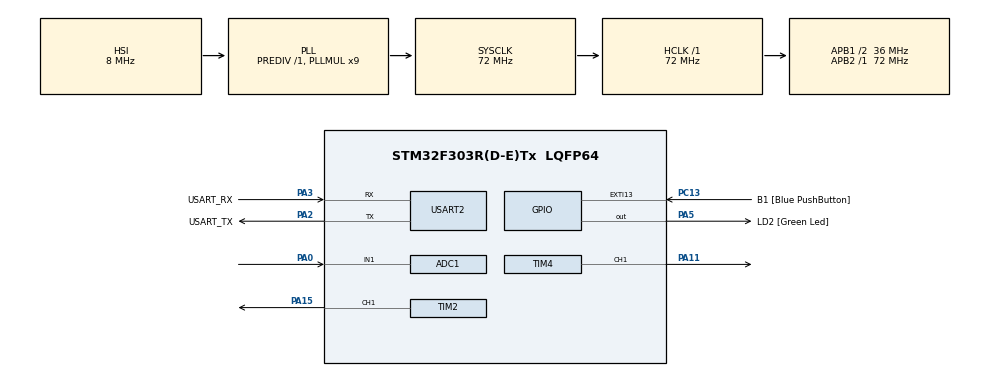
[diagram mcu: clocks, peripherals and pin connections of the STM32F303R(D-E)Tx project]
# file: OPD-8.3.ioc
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ADC1.Channel-0\#ChannelRegularConversion=ADC_CHANNEL_1
ADC1.NbrOfConversionFlag=1
ADC1.Offset-0\#ChannelRegularConversion=0
ADC1.OffsetNumber-0\#ChannelRegularConversion=ADC_OFFSET_NONE
ADC1.Rank-0\#ChannelRegularConversion=1
ADC1.SamplingTime-0\#ChannelRegularConversion=ADC_SAMPLETIME_1CYCLE_5
ADC1.SamplingTimeOPAMP-0\#ChannelRegularConversion=ADC_SAMPLETIME_61CYCLES_5
ADC1.master=1
Dma.Request0=TIM2_CH1
Dma.TIM2_CH1.0.Direction=DMA_PERIPH_TO_MEMORY
Dma.TIM2_CH1.0.Instance=DMA1_Channel5
Dma.TIM2_CH1.0.MemDataAlignment=DMA_MDATAALIGN_WORD
Dma.TIM2_CH1.0.MemInc=DMA_MINC_ENABLE
Dma.TIM2_CH1.0.Mode=DMA_NORMAL
Dma.TIM2_CH1.0.PeriphDataAlignment=DMA_PDATAALIGN_WORD
Dma.TIM2_CH1.0.PeriphInc=DMA_PINC_DISABLE
Dma.TIM2_CH1.0.Priority=DMA_PRIORITY_LOW
Mcu.Family=STM32F3
Mcu.Name=STM32F303R(D-E)Tx
Mcu.Package=LQFP64
NVIC.ADC1_2_IRQn=true\:0\:0\:false\:false\:true\:true\:true\:true
NVIC.DMA1_Channel5_IRQn=true\:0\:0\:false\:false\:true\:false\:true\:true
NVIC.PriorityGroup=NVIC_PRIORITYGROUP_0
NVIC.TIM2_IRQn=true\:0\:0\:false\:false\:true\:true\:true\:true
NVIC.TIM4_IRQn=true\:0\:0\:false\:false\:true\:true\:true\:true
PA0.Mode=IN1-Single-Ended
PA0.Signal=ADC1_IN1
PA11.Signal=S_TIM4_CH1
PA13.GPIO_Label=TMS
PA13.Mode=Serial_Wire
PA13.Signal=SYS_JTMS-SWDIO
PA14.GPIO_Label=TCK
PA14.Mode=Serial_Wire
PA14.Signal=SYS_JTCK-SWCLK
PA15.Signal=S_TIM2_CH1_ETR
PA2.GPIO_Label=USART_TX
PA2.GPIO_Mode=GPIO_MODE_AF_PP
PA2.GPIO_PuPd=GPIO_NOPULL
PA2.GPIO_Speed=GPIO_SPEED_FREQ_LOW
PA2.Mode=Asynchronous
PA2.Signal=USART2_TX
PA3.GPIO_Label=USART_RX
PA3.GPIO_Mode=GPIO_MODE_AF_PP
PA3.GPIO_PuPd=GPIO_NOPULL
PA3.GPIO_Speed=GPIO_SPEED_FREQ_LOW
PA3.Mode=Asynchronous
PA3.Signal=USART2_RX
PA5.GPIO_Label=LD2 [Green Led]
PA5.GPIO_Mode=GPIO_MODE_OUTPUT_PP
PA5.GPIO_PuPd=GPIO_NOPULL
PA5.GPIO_Speed=GPIO_SPEED_FREQ_LOW
PA5.Signal=GPIO_Output
PB3.GPIO_Label=SWO
PB3.Signal=SYS_JTDO-TRACESWO
PC13.GPIO_Label=B1 [Blue PushButton]
PC13.GPIO_ModeDefaultEXTI=GPIO_MODE_IT_FALLING
PC13.Signal=GPXTI13
PC14-OSC32_IN.Mode=LSE-External-Oscillator
PC14-OSC32_IN.Signal=RCC_OSC32_IN
PC15-OSC32_OUT.Mode=LSE-External-Oscillator
PC15-OSC32_OUT.Signal=RCC_OSC32_OUT
PF0-OSC_IN.Mode=HSE-External-Clock-Source
PF0-OSC_IN.Signal=RCC_OSC_IN
PF1-OSC_OUT.Signal=RCC_OSC_OUT
ProjectManager.HeapSize=0x200
ProjectManager.StackSize=0x400
ProjectManager.TargetToolchain=STM32CubeIDE
RCC.AHBFreq_Value=72000000
RCC.APB1CLKDivider=RCC_HCLK_DIV2
RCC.APB1Freq_Value=36000000
RCC.APB1TimFreq_Value=72000000
RCC.APB2Freq_Value=72000000
RCC.APB2TimFreq_Value=72000000
RCC.CortexFreq_Value=72000000
RCC.HCLKFreq_Value=72000000
RCC.HSE_VALUE=8000000
RCC.HSI_VALUE=8000000
RCC.PLLM=8
RCC.PLLMUL=RCC_PLL_MUL9
RCC.PLLN=336
RCC.PLLP=RCC_PLLP_DIV4
RCC.PLLQ=7
RCC.RCC_PLLsource_Clock_Source_FROM_HSE=RCC_HSE_PREDIV_DIV2
RCC.SYSCLKFreq_VALUE=72000000
RCC.SYSCLKSourceVirtual=RCC_SYSCLKSOURCE_PLLCLK
RCC.USBFreq_Value=72000000
SH.S_TIM2_CH1_ETR.0=TIM2_CH1,PWM Generation1 CH1
SH.S_TIM4_CH1.0=TIM4_CH1,PWM Generation1 CH1
TIM2.Channel-PWM\ Generation1\ CH1=TIM_CHANNEL_1
TIM2.Period=99999
TIM2.Prescaler=7199
TIM4.Channel-PWM\ Generation1\ CH1=TIM_CHANNEL_1
TIM4.Period=\ 999
TIM4.Prescaler=71
USART2.VirtualMode-Asynchronous=VM_ASYNC
board=NUCLEO-F303RE

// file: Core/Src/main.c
/* USER CODE BEGIN Header */
/**
  ******************************************************************************
  * @file           : main.c
  * @brief          : Main program body
  ******************************************************************************
  * @attention
  *
  * Copyright (c) 2026 STMicroelectronics.
  * All rights reserved.
  *
  * This software is licensed under terms that can be found in the LICENSE file
  * in the root directory of this software component.
  * If no LICENSE file comes with this software, it is provided AS-IS.
  *
  ******************************************************************************
  */
/* USER CODE END Header */
#include "main.h"

ADC_HandleTypeDef hadc1;

TIM_HandleTypeDef htim2;
TIM_HandleTypeDef htim4;

UART_HandleTypeDef huart2;

void SystemClock_Config(void);
static void MX_GPIO_Init(void);
static void MX_USART2_UART_Init(void);
static void MX_ADC1_Init(void);
static void MX_TIM2_Init(void);
static void MX_TIM4_Init(void);
/* USER CODE BEGIN PFP */
static uint32_t Read_Potentiometer(void);

/* USER CODE END PFP */

/* USER CODE BEGIN 0 */
volatile uint8_t tim4_enabled = 0;

/* USER CODE END 0 */

int main(void)
{

  /* MCU Configuration--------------------------------------------------------*/

  /* Reset of all peripherals, Initializes the Flash interface and the Systick. */
  HAL_Init();

  /* Configure the system clock */
  SystemClock_Config();

  /* Initialize all configured peripherals */
  MX_GPIO_Init();
  MX_USART2_UART_Init();
  MX_ADC1_Init();
  MX_TIM2_Init();
  MX_TIM4_Init();
  /* USER CODE BEGIN 2 */
  HAL_ADCEx_Calibration_Start(&hadc1, ADC_SINGLE_ENDED);
  __HAL_TIM_SET_COMPARE(&htim2, TIM_CHANNEL_1, 80000U);
  __HAL_TIM_SET_COMPARE(&htim4, TIM_CHANNEL_1, 0);

  if (HAL_TIM_PWM_Start_IT(&htim2, TIM_CHANNEL_1) != HAL_OK)
  {
    Error_Handler();
  }

  /* USER CODE END 2 */

  /* Infinite loop */
  while (1)
  {

    /* USER CODE BEGIN 3 */
    uint32_t pot_value = Read_Potentiometer();
    uint32_t pwm = (pot_value * (htim4.Init.Period + 1U)) / 4095U;

    if (pwm > htim4.Init.Period)
    {
      pwm = htim4.Init.Period;
    }

    if (tim4_enabled)
    {
      __HAL_TIM_SET_COMPARE(&htim4, TIM_CHANNEL_1, pwm);
    }
  }
  /* USER CODE END 3 */
}

void SystemClock_Config(void)
{
  RCC_OscInitTypeDef RCC_OscInitStruct = {0};
  RCC_ClkInitTypeDef RCC_ClkInitStruct = {0};
  RCC_PeriphCLKInitTypeDef PeriphClkInit = {0};

  /** Initializes the RCC Oscillators according to the specified parameters
  * in the RCC_OscInitTypeDef structure.
  */
  RCC_OscInitStruct.OscillatorType = RCC_OSCILLATORTYPE_HSI;
  RCC_OscInitStruct.HSIState = RCC_HSI_ON;
  RCC_OscInitStruct.HSICalibrationValue = RCC_HSICALIBRATION_DEFAULT;
  RCC_OscInitStruct.PLL.PLLState = RCC_PLL_ON;
  RCC_OscInitStruct.PLL.PLLSource = RCC_PLLSOURCE_HSI;
  RCC_OscInitStruct.PLL.PLLMUL = RCC_PLL_MUL9;
  RCC_OscInitStruct.PLL.PREDIV = RCC_PREDIV_DIV1;
  if (HAL_RCC_OscConfig(&RCC_OscInitStruct) != HAL_OK)
  {
    Error_Handler();
  }

  /** Initializes the CPU, AHB and APB buses clocks
  */
  RCC_ClkInitStruct.ClockType = RCC_CLOCKTYPE_HCLK|RCC_CLOCKTYPE_SYSCLK
                              |RCC_CLOCKTYPE_PCLK1|RCC_CLOCKTYPE_PCLK2;
  RCC_ClkInitStruct.SYSCLKSource = RCC_SYSCLKSOURCE_PLLCLK;
  RCC_ClkInitStruct.AHBCLKDivider = RCC_SYSCLK_DIV1;
  RCC_ClkInitStruct.APB1CLKDivider = RCC_HCLK_DIV2;
  RCC_ClkInitStruct.APB2CLKDivider = RCC_HCLK_DIV1;

  if (HAL_RCC_ClockConfig(&RCC_ClkInitStruct, FLASH_LATENCY_2) != HAL_OK)
  {
    Error_Handler();
  }
  PeriphClkInit.PeriphClockSelection = RCC_PERIPHCLK_USART2|RCC_PERIPHCLK_ADC12
                              |RCC_PERIPHCLK_TIM2|RCC_PERIPHCLK_TIM34;
  PeriphClkInit.Usart2ClockSelection = RCC_USART2CLKSOURCE_PCLK1;
  PeriphClkInit.Adc12ClockSelection = RCC_ADC12PLLCLK_DIV1;
  PeriphClkInit.Tim2ClockSelection = RCC_TIM2CLK_HCLK;
  PeriphClkInit.Tim34ClockSelection = RCC_TIM34CLK_HCLK;
  if (HAL_RCCEx_PeriphCLKConfig(&PeriphClkInit) != HAL_OK)
  {
    Error_Handler();
  }
}

static void MX_ADC1_Init(void)
{

  ADC_MultiModeTypeDef multimode = {0};
  ADC_ChannelConfTypeDef sConfig = {0};

  /** Common config
  */
  hadc1.Instance = ADC1;
  hadc1.Init.ClockPrescaler = ADC_CLOCK_ASYNC_DIV1;
  hadc1.Init.Resolution = ADC_RESOLUTION_12B;
  hadc1.Init.ScanConvMode = ADC_SCAN_DISABLE;
  hadc1.Init.ContinuousConvMode = DISABLE;
  hadc1.Init.DiscontinuousConvMode = DISABLE;
  hadc1.Init.ExternalTrigConvEdge = ADC_EXTERNALTRIGCONVEDGE_NONE;
  hadc1.Init.ExternalTrigConv = ADC_SOFTWARE_START;
  hadc1.Init.DataAlign = ADC_DATAALIGN_RIGHT;
  hadc1.Init.NbrOfConversion = 1;
  hadc1.Init.DMAContinuousRequests = DISABLE;
  hadc1.Init.EOCSelection = ADC_EOC_SINGLE_CONV;
  hadc1.Init.LowPowerAutoWait = DISABLE;
  hadc1.Init.Overrun = ADC_OVR_DATA_OVERWRITTEN;
  if (HAL_ADC_Init(&hadc1) != HAL_OK)
  {
    Error_Handler();
  }

  /** Configure the ADC multi-mode
  */
  multimode.Mode = ADC_MODE_INDEPENDENT;
  if (HAL_ADCEx_MultiModeConfigChannel(&hadc1, &multimode) != HAL_OK)
  {
    Error_Handler();
  }

  /** Configure Regular Channel
  */
  sConfig.Channel = ADC_CHANNEL_1;
  sConfig.Rank = ADC_REGULAR_RANK_1;
  sConfig.SingleDiff = ADC_SINGLE_ENDED;
  sConfig.SamplingTime = ADC_SAMPLETIME_1CYCLE_5;
  sConfig.OffsetNumber = ADC_OFFSET_NONE;
  sConfig.Offset = 0;
  if (HAL_ADC_ConfigChannel(&hadc1, &sConfig) != HAL_OK)
  {
    Error_Handler();
  }

}

static void MX_TIM2_Init(void)
{

  TIM_MasterConfigTypeDef sMasterConfig = {0};
  TIM_OC_InitTypeDef sConfigOC = {0};

  htim2.Instance = TIM2;
  htim2.Init.Prescaler = 7199;
  htim2.Init.CounterMode = TIM_COUNTERMODE_UP;
  htim2.Init.Period = 99999;
  htim2.Init.ClockDivision = TIM_CLOCKDIVISION_DIV1;
  htim2.Init.AutoReloadPreload = TIM_AUTORELOAD_PRELOAD_DISABLE;
  if (HAL_TIM_PWM_Init(&htim2) != HAL_OK)
  {
    Error_Handler();
  }
  sMasterConfig.MasterOutputTrigger = TIM_TRGO_RESET;
  sMasterConfig.MasterSlaveMode = TIM_MASTERSLAVEMODE_DISABLE;
  if (HAL_TIMEx_MasterConfigSynchronization(&htim2, &sMasterConfig) != HAL_OK)
  {
    Error_Handler();
  }
  sConfigOC.OCMode = TIM_OCMODE_PWM1;
  sConfigOC.Pulse = 0;
  sConfigOC.OCPolarity = TIM_OCPOLARITY_HIGH;
  sConfigOC.OCFastMode = TIM_OCFAST_DISABLE;
  if (HAL_TIM_PWM_ConfigChannel(&htim2, &sConfigOC, TIM_CHANNEL_1) != HAL_OK)
  {
    Error_Handler();
  }
  HAL_TIM_MspPostInit(&htim2);

}

static void MX_TIM4_Init(void)
{

  TIM_MasterConfigTypeDef sMasterConfig = {0};
  TIM_OC_InitTypeDef sConfigOC = {0};

  htim4.Instance = TIM4;
  htim4.Init.Prescaler = 71;
  htim4.Init.CounterMode = TIM_COUNTERMODE_UP;
  htim4.Init.Period = 65535;
  htim4.Init.ClockDivision = TIM_CLOCKDIVISION_DIV1;
  htim4.Init.AutoReloadPreload = TIM_AUTORELOAD_PRELOAD_DISABLE;
  if (HAL_TIM_PWM_Init(&htim4) != HAL_OK)
  {
    Error_Handler();
  }
  sMasterConfig.MasterOutputTrigger = TIM_TRGO_RESET;
  sMasterConfig.MasterSlaveMode = TIM_MASTERSLAVEMODE_DISABLE;
  if (HAL_TIMEx_MasterConfigSynchronization(&htim4, &sMasterConfig) != HAL_OK)
  {
    Error_Handler();
  }
  sConfigOC.OCMode = TIM_OCMODE_PWM1;
  sConfigOC.Pulse = 0;
  sConfigOC.OCPolarity = TIM_OCPOLARITY_HIGH;
  sConfigOC.OCFastMode = TIM_OCFAST_DISABLE;
  if (HAL_TIM_PWM_ConfigChannel(&htim4, &sConfigOC, TIM_CHANNEL_1) != HAL_OK)
  {
    Error_Handler();
  }
  HAL_TIM_MspPostInit(&htim4);

}

static void MX_USART2_UART_Init(void)
{

  huart2.Instance = USART2;
  huart2.Init.BaudRate = 38400;
  huart2.Init.WordLength = UART_WORDLENGTH_8B;
  huart2.Init.StopBits = UART_STOPBITS_1;
  huart2.Init.Parity = UART_PARITY_NONE;
  huart2.Init.Mode = UART_MODE_TX_RX;
  huart2.Init.HwFlowCtl = UART_HWCONTROL_NONE;
  huart2.Init.OverSampling = UART_OVERSAMPLING_16;
  huart2.Init.OneBitSampling = UART_ONE_BIT_SAMPLE_DISABLE;
  huart2.AdvancedInit.AdvFeatureInit = UART_ADVFEATURE_NO_INIT;
  if (HAL_UART_Init(&huart2) != HAL_OK)
  {
    Error_Handler();
  }

}

static void MX_GPIO_Init(void)
{
  GPIO_InitTypeDef GPIO_InitStruct = {0};

  /* GPIO Ports Clock Enable */
  __HAL_RCC_GPIOC_CLK_ENABLE();
  __HAL_RCC_GPIOF_CLK_ENABLE();
  __HAL_RCC_GPIOA_CLK_ENABLE();
  __HAL_RCC_GPIOB_CLK_ENABLE();

  /*Configure GPIO pin Output Level */
  HAL_GPIO_WritePin(LD2_GPIO_Port, LD2_Pin, GPIO_PIN_RESET);

  /*Configure GPIO pin : B1_Pin */
  GPIO_InitStruct.Pin = B1_Pin;
  GPIO_InitStruct.Mode = GPIO_MODE_IT_FALLING;
  GPIO_InitStruct.Pull = GPIO_NOPULL;
  HAL_GPIO_Init(B1_GPIO_Port, &GPIO_InitStruct);

  /*Configure GPIO pin : LD2_Pin */
  GPIO_InitStruct.Pin = LD2_Pin;
  GPIO_InitStruct.Mode = GPIO_MODE_OUTPUT_PP;
  GPIO_InitStruct.Pull = GPIO_NOPULL;
  GPIO_InitStruct.Speed = GPIO_SPEED_FREQ_LOW;
  HAL_GPIO_Init(LD2_GPIO_Port, &GPIO_InitStruct);

}

/* USER CODE BEGIN 4 */
static uint32_t Read_Potentiometer(void)
{
  HAL_ADC_Start(&hadc1);
  HAL_ADC_PollForConversion(&hadc1, HAL_MAX_DELAY);
  return HAL_ADC_GetValue(&hadc1);
}

void HAL_TIM_PeriodElapsedCallback(TIM_HandleTypeDef *htim)
{
  if (htim->Instance == TIM2)
  {
    if (HAL_TIM_PWM_Start(&htim4, TIM_CHANNEL_1) == HAL_OK)
    {
      tim4_enabled = 1;
    }
  }
}

void HAL_TIM_PWM_PulseFinishedCallback(TIM_HandleTypeDef *htim)
{
  if ((htim->Instance == TIM2) && (htim->Channel == HAL_TIM_ACTIVE_CHANNEL_1))
  {
    HAL_TIM_PWM_Stop(&htim4, TIM_CHANNEL_1);
    tim4_enabled = 0;
  }
}

/* USER CODE END 4 */

void Error_Handler(void)
{
  __disable_irq();
  while (1)
  {
  }
}
